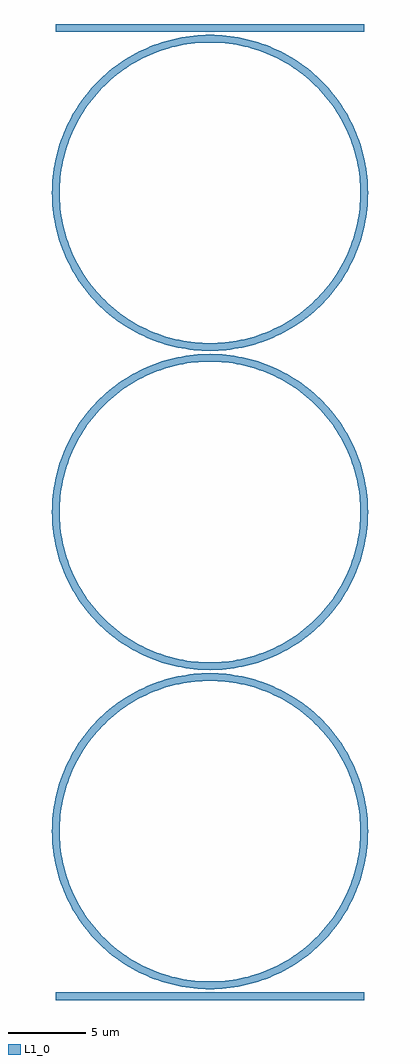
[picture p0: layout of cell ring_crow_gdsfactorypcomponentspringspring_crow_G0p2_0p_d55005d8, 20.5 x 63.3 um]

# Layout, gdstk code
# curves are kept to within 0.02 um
from math import pi, radians
import gdstk
lib = gdstk.Library(unit=1e-6, precision=1e-09)
def R(c, l, rs):  # rectangles x0, y0, x1, y1
    for r in rs: c.add(gdstk.rectangle(r[:2], r[2:], *l))
def P(c, l, *ps):  # polygons
    for p in ps: c.add(gdstk.Polygon(p, *l))
L1_0 = (1, 0)

straight_gdsfactorypcomp = lib.new_cell('straight_gdsfactorypcomponentspwaveguidespstraight_L20__31a8c163')
R(straight_gdsfactorypcomp, L1_0, [(0,-0.25,20,0.25)])

bend_circular_gdsfactory = lib.new_cell('bend_circular_gdsfactorypcomponentspbendspbend_circular_35685adf')
P(bend_circular_gdsfactory, L1_0, [(0,-0.25),(0,0.25),(1.003,0.302),(1.994,0.456),(3.203,0.791),(4.133,1.169),(5.019,1.641),(5.649,2.053),(6.246,2.513),(6.805,3.018),(7.487,3.754),(7.947,4.351),(8.359,4.981),(8.721,5.641),(9.209,6.797),(9.489,7.761),(9.669,8.748),(9.75,10),(10.25,10),(10.196,8.946),(10.084,8.162),(9.842,7.135),(9.495,6.139),(9.169,5.417),(8.649,4.499),(8.037,3.639),(7.341,2.846),(6.566,2.129),(5.722,1.496),(4.817,0.953),(3.861,0.505),(2.865,0.158),(1.838,-0.084),(1.054,-0.196)])

c_straight_gdsfactorypcomp = lib.new_cell('straight_gdsfactorypcomponentspwaveguidespstraight_L0_N_6819b7a0')

ring_asymmetric_gdsfacto = lib.new_cell('ring_asymmetric_gdsfactorypcomponentspringspring_crow_R_df3911fe')
ring_asymmetric_gdsfacto.add(gdstk.Reference(bend_circular_gdsfactory, (0,0)))
ring_asymmetric_gdsfacto.add(gdstk.Reference(bend_circular_gdsfactory, (10,10), rotation=pi/2))
ring_asymmetric_gdsfacto.add(gdstk.Reference(bend_circular_gdsfactory, (0,20), rotation=pi))
ring_asymmetric_gdsfacto.add(gdstk.Reference(bend_circular_gdsfactory, (-10,10), rotation=3*pi/2))
ring_asymmetric_gdsfacto.add(gdstk.Reference(c_straight_gdsfactorypcomp, (0,0)))
ring_asymmetric_gdsfacto.add(gdstk.Reference(c_straight_gdsfactorypcomp, (0,20), rotation=pi))
ring_asymmetric_gdsfacto.add(gdstk.Reference(c_straight_gdsfactorypcomp, (10,10), rotation=pi/2))
ring_asymmetric_gdsfacto.add(gdstk.Reference(c_straight_gdsfactorypcomp, (-10,10), rotation=3*pi/2))

ring_crow_gdsfactorypcom = lib.new_cell('ring_crow_gdsfactorypcomponentspringspring_crow_G0p2_0p_d55005d8')
ring_crow_gdsfactorypcom.add(gdstk.Reference(straight_gdsfactorypcomp, (-10,0)))
ring_crow_gdsfactorypcom.add(gdstk.Reference(ring_asymmetric_gdsfacto, (0,0.7)))
ring_crow_gdsfactorypcom.add(gdstk.Reference(ring_asymmetric_gdsfacto, (0,21.4)))
ring_crow_gdsfactorypcom.add(gdstk.Reference(ring_asymmetric_gdsfacto, (0,42.1)))
ring_crow_gdsfactorypcom.add(gdstk.Reference(straight_gdsfactorypcomp, (-10,62.8)))

lib.write_gds('ring_crow_gdsfactorypcomponentspringspring_crow_G0p2_0p_d55005d8.gds')
